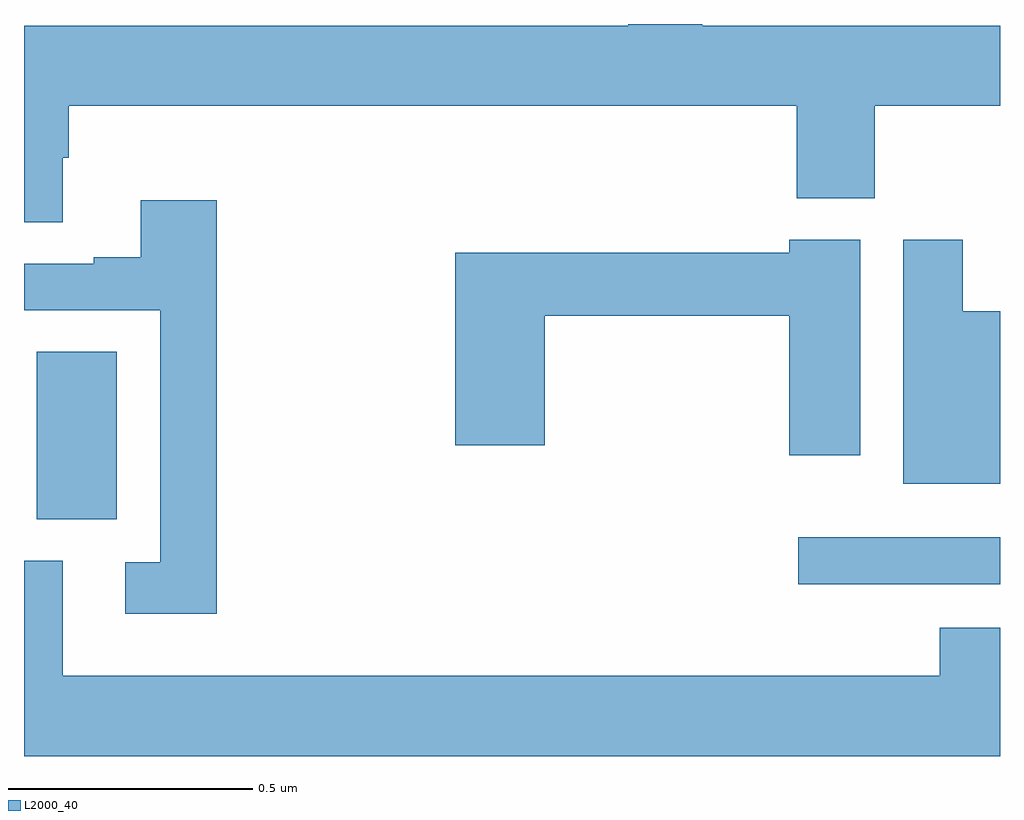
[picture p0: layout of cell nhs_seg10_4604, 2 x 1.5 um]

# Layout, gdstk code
import gdstk
lib = gdstk.Library(unit=1e-6, precision=1e-09)
def R(c, l, rs):  # rectangles x0, y0, x1, y1
    for r in rs: c.add(gdstk.rectangle(r[:2], r[2:], *l))
def P(c, l, *ps):  # polygons
    for p in ps: c.add(gdstk.Polygon(p, *l))
L2000_40 = (2000, 40)

nhs_seg10_4604 = lib.new_cell('nhs_seg10_4604')
R(nhs_seg10_4604, L2000_40, [(169.587,1283.352,170,1283.448), (168.026,1283.485,168.19,1283.828)])
P(nhs_seg10_4604, L2000_40, [(168.079,1284.226),(168.092,1284.226),(168.092,1284.332),(169.583,1284.332),(169.583,1284.143),(169.743,1284.143),(169.743,1284.332),(170,1284.332),(170,1284.496),(169.39,1284.496),(169.39,1284.5),(169.238,1284.5),(169.238,1284.496),(168,1284.496),(168,1284.094),(168.079,1284.094)],
  [(168.395,1284.139),(168.239,1284.139),(168.239,1284.022),(168.143,1284.022),(168.143,1284.009),(168,1284.009),(168,1283.913),(168.279,1283.913),(168.279,1283.397),(168.207,1283.397),(168.207,1283.292),(168.395,1283.292)],
  [(169.714,1284.058),(169.568,1284.058),(169.568,1284.031),(168.884,1284.031),(168.884,1283.637),(169.067,1283.637),(169.067,1283.902),(169.568,1283.902),(169.568,1283.616),(169.714,1283.616)],
  [(170,1283.911),(169.924,1283.911),(169.924,1284.058),(169.802,1284.058),(169.802,1283.558),(170,1283.558)],
  [(170,1283.263),(169.877,1283.263),(169.877,1283.164),(168.079,1283.164),(168.079,1283.4),(168,1283.4),(168,1283),(170,1283)])

lib.write_gds('nhs_seg10_4604.gds')
